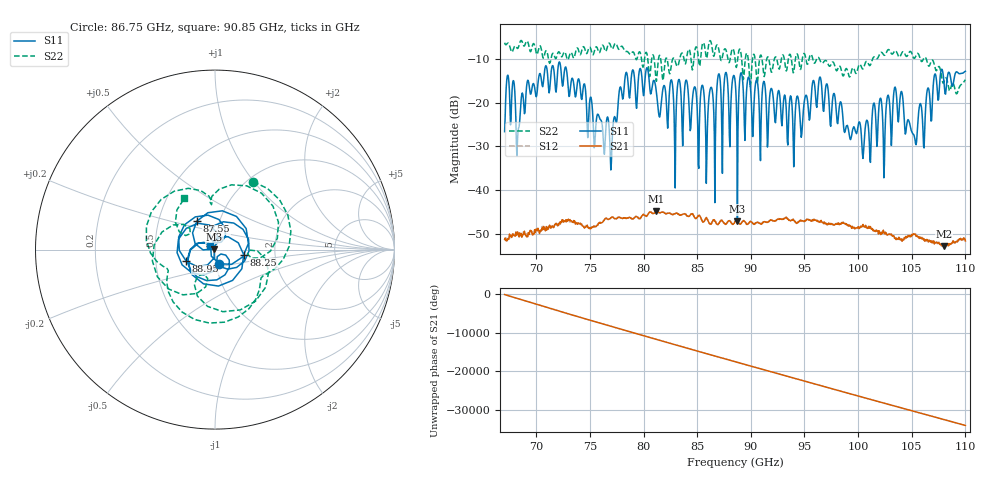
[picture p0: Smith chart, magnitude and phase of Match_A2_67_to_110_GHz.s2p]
#  HZ  S  MA  R  50.00
! Rohde & Schwarz ZVA67 4Ports - Version 4.11 - 1305.7002k04 SN: 101051
! Date: 2023-09-13 17:18:35
! Measurements: S11 S21 S12 S22
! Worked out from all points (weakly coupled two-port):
!   860 points, 67.05 GHz to 110 GHz, reference 50 ohm
!   highest |S21| = -44.83 dB at 81.2 GHz (marker M1); lowest = -52.7 dB at 108 GHz (marker M2)
!   lowest |S11| = -47.1 dB at 88.75 GHz (marker M3), VSWR 1.01, Z = 49.6 + j0.167 ohm
!   |S11| at or under -10 dB: start of sweep to end of sweep
!   |S22| runs from -18.0 to -5.8 dB; largest |S21 - S12| = 0.00067
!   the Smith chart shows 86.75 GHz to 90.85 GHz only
!   S11 on the Smith chart (normalised r, x): 86.75 GHz: 1.03, -0.16; 87.55 GHz: 0.78, +0.26; 88.25 GHz: 1.38, -0.08; 88.95 GHz: 0.72, -0.10; 90.85 GHz: 0.94, +0.04
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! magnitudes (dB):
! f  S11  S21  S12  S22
! 67.05 GHz  -26.6  -51.2  -51.0  -6.4
! 67.9 GHz  -15.1  -50.3  -50.0  -7.6
! 68.3 GHz  -26.5  -50.0  -49.6  -7.6
! 70.9 GHz  -11.6  -49.1  -48.9  -8.2
! 74.25 GHz  -19.3  -47.9  -47.7  -8.1
! 76.95 GHz  -35.4  -46.3  -46.4  -7.1
! 78.35 GHz  -13.3  -46.4  -46.4  -8.3
! 81.2 GHz  -17.6  -44.8  -44.8  -15.2
! 81.4 GHz  -22.3  -45.1  -45.1  -9.9
! 86.75 GHz  -21.8  -47.4  -47.4  -7.3
! 87.55 GHz  -14.5  -47.6  -47.6  -7.8
! 88.25 GHz  -15.8  -47.7  -47.6  -7.9
! 88.55 GHz  -15.5  -47.1  -47.0  -10.5
! 88.75 GHz  -47.1  -47.0  -46.9  -10.5
! 88.95 GHz  -15.3  -47.7  -47.7  -7.8
! 90.85 GHz  -28.7  -47.6  -47.6  -9.5
! 95.7 GHz  -16.5  -46.8  -46.9  -9.4
! 100.5 GHz  -32.8  -47.8  -48.3  -12.3
! 102.8 GHz  -18.6  -50.0  -50.2  -7.9
! 105.3 GHz  -28.4  -50.1  -50.0  -9.8
! 108 GHz  -15.3  -52.7  -52.5  -15.4
! 110 GHz  -12.9  -51.6  -51.4  -14.8
